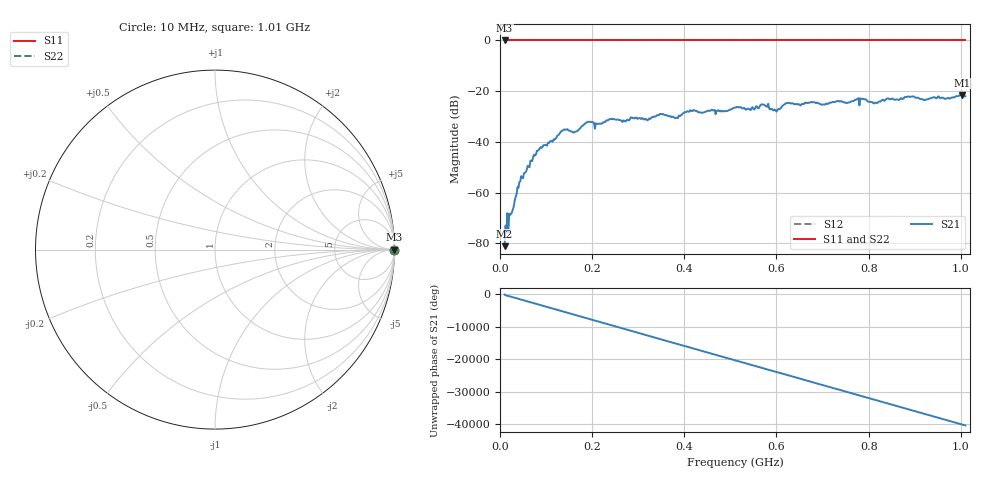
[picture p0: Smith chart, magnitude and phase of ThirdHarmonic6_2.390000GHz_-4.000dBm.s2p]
! 8/17/2025 3:52:03 AM
! C:\ANRITSUVNA\TEMP\TEMP.S2P
! CHANNEL.1
! TR.MEASUREMENT
! RAW.DATA
! RF.CORRECTION.OFF
! AVERAGING.OFF
! IF.BANDWIDTH: 5KHZ
! SWEEPTYPE:  FREQ.SWEEP(Linear)
! Reference Plane Port Info
! PORT:  PORT1  PORT2
! DISTANCE:  0  m  0  m
! TIME:  0  s  0  s
! PHASE.OFFSET:  0  deg.  0  deg.
! LOSS:  0  dB  0  dB
! REF.LOSS:  0  dB  0  dB
! REF.FREQ:  0  Hz  0  Hz
! Power Info
! POWER:  -20  dBm  -20  dBm
! EFF.POWER:  -20  dBm  -20  dBm
! SOURCE.ATTEN:  0  dB  0  dB
! TEST.ATTEN:  0  dB  0  dB
# GHZ S RI R 50.0
! FREQ.GHZ  S11RE  S11IM  S21RE  S21IM  S12RE  S12IM  S22RE  S22IM
!; PortSelection: Port_12
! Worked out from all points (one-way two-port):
!   501 points, 10 MHz to 1.01 GHz, reference 50 ohm
!   highest |S21| = -21.46 dB at 1.002 GHz (marker M1); lowest = -81.1 dB at 10 MHz (marker M2)
!   lowest |S11| = 0.0 dB at 10 MHz (marker M3)
!   |S11| at or under -10 dB: nowhere
!   |S22| runs from 0.0 to 0.0 dB; largest |S21 - S12| = 1.1
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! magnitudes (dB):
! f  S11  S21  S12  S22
! 10 MHz  0.0  -81.1  0.0  0.0
! 16 MHz  0.0  -68.1  0.0  0.0
! 28 MHz  0.0  -66.5  0.0  0.0
! 42 MHz  0.0  -55.8  0.0  0.0
! 76 MHz  0.0  -45.4  0.0  0.0
! 136 MHz  0.0  -35.6  0.0  0.0
! 162 MHz  0.0  -36.1  0.0  0.0
! 178 MHz  0.0  -33.7  0.0  0.0
! 192 MHz  0.0  -32.1  0.0  0.0
! 344 MHz  0.0  -29.5  0.0  0.0
! 382 MHz  0.0  -30.5  0.0  0.0
! 416 MHz  0.0  -27.8  0.0  0.0
! 510 MHz  0.0  -26.5  0.0  0.0
! 570 MHz  0.0  -25.2  0.0  0.0
! 598 MHz  0.0  -27.6  0.0  0.0
! 624 MHz  0.0  -24.7  0.0  0.0
! 678 MHz  0.0  -24.4  0.0  0.0
! 786 MHz  0.0  -23.0  0.0  0.0
! 814 MHz  0.0  -24.5  0.0  0.0
! 844 MHz  0.0  -23.0  0.0  0.0
! 1.002 GHz  0.0  -21.5  0.0  0.0
! 1.01 GHz  0.0  -22.0  0.0  0.0
